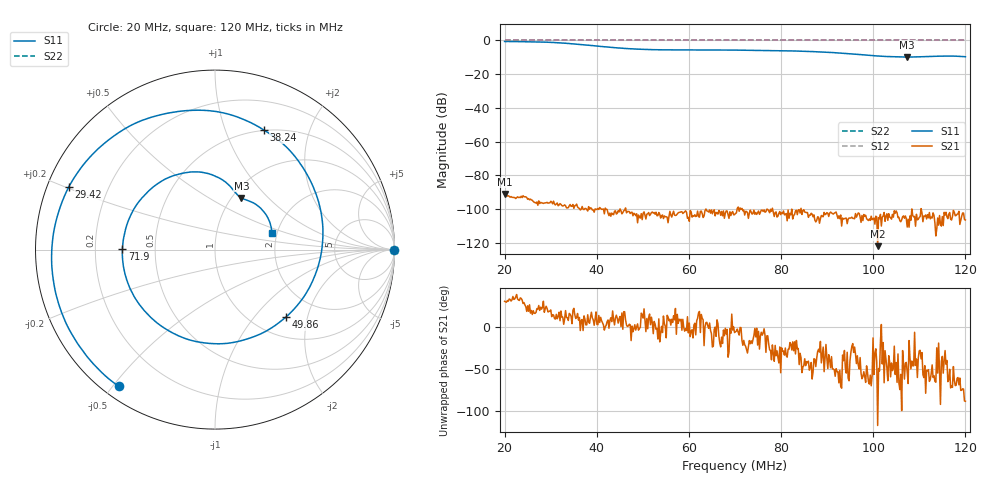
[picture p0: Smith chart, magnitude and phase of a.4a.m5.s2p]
! Anritsu VNA Master:  Model: MS2036C/10/77
! SN:  1601066
! /bd0/18may09/254.ew.m5.s2p
! Existing Calibration Information:
! TYPE:  Current Settings,  Active Cal Settings
! TIME:  05/09/2018 10:18:33 AM,  05/09/2018 10:08:40 AM
! INTERNAL TEMP:  48.8 C,  48.0 C
! # POINTS:  500,  500
! START FREQ:  20.000 MHz,  20.000 MHz
! STOP FREQ:  120.000 MHz,  120.000 MHz
! SOURCE POWER:  High,  High
! IFBW:  50 Hz,  50 Hz
! AVG FACTOR:  1 ,  1
! REF PLANE 1:  0 mm,  0 mm
! REF PLANE 2:  0 mm,  0 mm
! CAL TYPE:  Full S11,  Full S11
! CAL METHOD:  SOLT,  SOLT
! CAL LINE TYPE:  Coax,  Coax
! DUT PORT 1:  K-Conn(F),  K-Conn(F)
! DUT PORT 2:  K-Conn(F),  K-Conn(F)
! CAL STATUS:  OK: Accuracy High,  --
# GHZ S DB R 50.0
! FREQ.GHZ  S11DB  S11A  S21DB  S21A  S12DB  S12A  S22DB  S22A
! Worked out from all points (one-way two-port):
!   500 points, 20 MHz to 120 MHz, reference 50 ohm
!   highest |S21| = -90.96 dB at 20 MHz (marker M1); lowest = -121.9 dB at 101 MHz (marker M2)
!   lowest |S11| = -9.8 dB at 107.4 MHz (marker M3), VSWR 1.95, Z = 55.3 + j35.5 ohm
!   |S11| at or under -10 dB: nowhere
!   |S22| runs from 0.0 to 0.0 dB; largest |S21 - S12| = 1
!   S11 on the Smith chart (normalised r, x): 20 MHz: 0.04, -0.52; 29.42 MHz: 0.06, +0.20; 38.24 MHz: 0.49, +1.37; 49.86 MHz: 1.38, -1.48; 71.9 MHz: 0.32, +0.00; 120 MHz: 1.88, +0.38
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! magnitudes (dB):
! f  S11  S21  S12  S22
! 20 MHz  -0.6  -91.0  0.0  0.0
! 25.01 MHz  -0.7  -94.1  0.0  0.0
! 29.42 MHz  -1.1  -96.5  0.0  0.0
! 32.83 MHz  -1.6  -97.9  0.0  0.0
! 36.83 MHz  -2.4  -98.4  0.0  0.0
! 38.24 MHz  -2.9  -98.5  0.0  0.0
! 44.85 MHz  -4.5  -101.6  0.0  0.0
! 49.86 MHz  -5.3  -106.2  0.0  0.0
! 53.47 MHz  -5.5  -102.0  0.0  0.0
! 70.1 MHz  -5.7  -102.6  0.0  0.0
! 71.9 MHz  -5.8  -100.5  0.0  0.0
! 78.72 MHz  -6.0  -102.0  0.0  0.0
! 84.33 MHz  -6.3  -99.5  0.0  0.0
! 86.73 MHz  -6.6  -102.9  0.0  0.0
! 92.34 MHz  -7.4  -105.5  0.0  0.0
! 101 MHz  -9.2  -121.9  0.0  0.0
! 103.4 MHz  -9.6  -102.7  0.0  0.0
! 107.4 MHz  -9.8  -110.6  0.0  0.0
! 109.2 MHz  -9.8  -110.1  0.0  0.0
! 115.8 MHz  -9.3  -101.9  0.0  0.0
! 118 MHz  -9.3  -103.7  0.0  0.0
! 120 MHz  -9.7  -106.4  0.0  0.0
